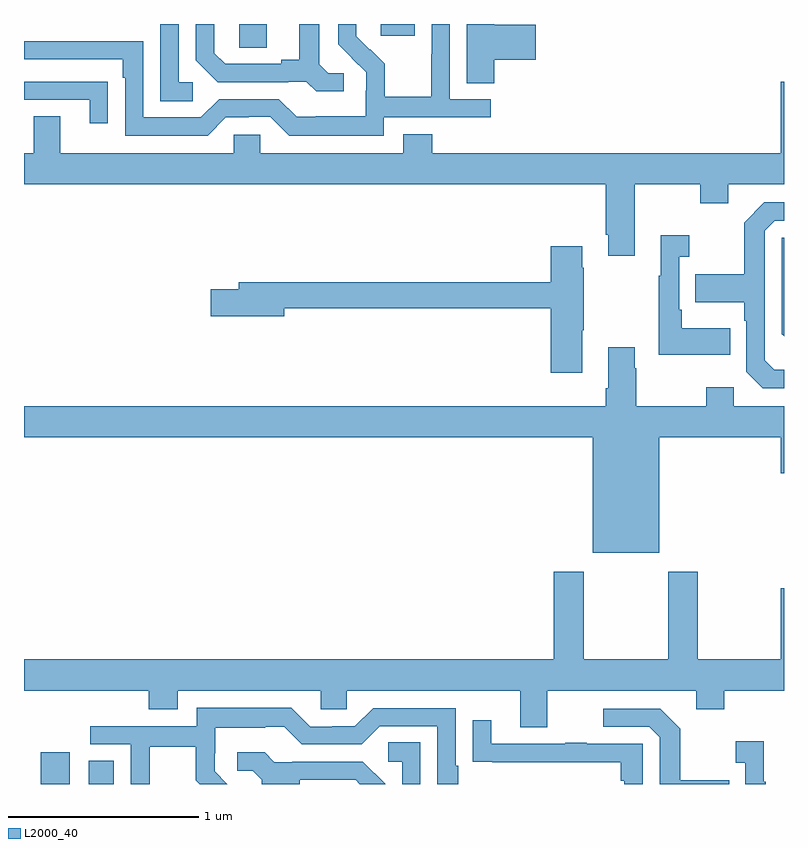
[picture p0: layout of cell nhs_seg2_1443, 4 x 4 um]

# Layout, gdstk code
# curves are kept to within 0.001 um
import gdstk
lib = gdstk.Library(unit=1e-6, precision=1e-09)
def R(c, l, rs):  # rectangles x0, y0, x1, y1
    for r in rs: c.add(gdstk.rectangle(r[:2], r[2:], *l))
def P(c, l, *ps):  # polygons
    for p in ps: c.add(gdstk.Polygon(p, *l))
L2000_40 = (2000, 40)

nhs_seg2_1443 = lib.new_cell('nhs_seg2_1443')
R(nhs_seg2_1443, L2000_40, [(185.087,657.8,185.242,657.967), (185.342,657.8,185.473,657.923), (186.132,661.675,186.277,661.8), (186.878,661.737,187.057,661.8)])
P(nhs_seg2_1443, L2000_40, [(186.682,661.542),(186.6,661.542),(186.553,661.589),(186.553,661.8),(186.449,661.8),(186.449,661.613),(186.353,661.613),(186.353,661.59),(186.058,661.59),(186.001,661.647),(186.001,661.8),(185.904,661.8),(185.904,661.61),(186.02,661.494),(186.392,661.494),(186.392,661.497),(186.486,661.497),(186.538,661.445),(186.682,661.445)],
  [(185.887,661.494),(185.814,661.494),(185.814,661.8),(185.718,661.8),(185.718,661.393),(185.887,661.393)],
  [(187.475,661.613),(187.693,661.613),(187.693,661.796),(187.475,661.796),(187.475,661.8),(187.331,661.8),(187.331,661.489),(187.475,661.489)],
  [(186.894,661.308),(187.456,661.308),(187.456,661.404),(187.242,661.404),(187.242,661.8),(187.146,661.8),(187.146,661.64),(187.144,661.64),(187.144,661.417),(186.899,661.417),(186.899,661.591),(186.822,661.668),(186.819,661.665),(186.749,661.736),(186.749,661.8),(186.654,661.8),(186.654,661.694),(186.8,661.546),(186.8,661.449),(186.798,661.449),(186.798,661.315),(186.535,661.315),(186.535,661.311),(186.435,661.311),(186.342,661.404),(186.027,661.404),(185.931,661.308),(185.628,661.308),(185.628,661.71),(185,661.71),(185,661.614),(185.519,661.614),(185.519,661.517),(185.532,661.517),(185.532,661.212),(185.967,661.212),(186.063,661.308),(186.182,661.308),(186.182,661.311),(186.297,661.311),(186.397,661.211),(186.894,661.211)],
  [(185.441,661.496),(185.339,661.496),(185.339,661.497),(185,661.497),(185,661.401),(185.345,661.401),(185.345,661.278),(185.441,661.278)],
  [(188.215,660.956),(188.56,660.956),(188.56,660.857),(188.707,660.857),(188.707,660.956),(189,660.956),(189,661.495),(188.984,661.495),(188.984,661.12),(187.148,661.12),(187.148,661.219),(186.995,661.219),(186.995,661.12),(186.243,661.12),(186.243,661.218),(186.105,661.218),(186.105,661.12),(185.191,661.12),(185.191,661.315),(185.051,661.315),(185.051,661.12),(185,661.12),(185,660.956),(188.063,660.956),(188.063,660.691),(188.075,660.691),(188.075,660.579),(188.215,660.579)],
  [(189,659.979),(188.949,659.979),(188.898,660.03),(188.898,660.711),(188.952,660.765),(189,660.765),(189,660.861),(188.895,660.861),(188.79,660.755),(188.79,660.483),(188.533,660.483),(188.533,660.335),(188.79,660.335),(188.79,660.239),(188.802,660.239),(188.802,659.97),(188.889,659.883),(189,659.883)],
  [(188.717,660.199),(188.461,660.199),(188.461,660.295),(188.448,660.295),(188.448,660.575),(188.5,660.575),(188.5,660.688),(188.351,660.688),(188.351,660.475),(188.34,660.475),(188.34,660.059),(188.717,660.059)],
  [(189,660.675),(188.988,660.675),(188.988,660.168),(189,660.156)],
  [(187.939,660.187),(187.947,660.187),(187.947,660.518),(187.939,660.518),(187.939,660.631),(187.772,660.631),(187.772,660.44),(186.131,660.44),(186.131,660.404),(185.982,660.404),(185.982,660.262),(186.37,660.262),(186.37,660.304),(187.772,660.304),(187.772,659.964),(187.939,659.964)],
  [(188.344,659.624),(188.984,659.624),(188.984,659.436),(189,659.436),(189,659.788),(188.736,659.788),(188.736,659.887),(188.59,659.887),(188.59,659.788),(188.223,659.788),(188.223,659.987),(188.215,659.987),(188.215,660.1),(188.075,660.1),(188.075,659.884),(188.063,659.884),(188.063,659.788),(185,659.788),(185,659.624),(187.994,659.624),(187.994,659.018),(188.344,659.018)],
  [(187.753,658.292),(188.537,658.292),(188.537,658.193),(188.685,658.193),(188.685,658.292),(189,658.292),(189,658.831),(188.984,658.831),(188.984,658.456),(188.547,658.456),(188.547,658.918),(188.392,658.918),(188.392,658.456),(187.947,658.456),(187.947,658.918),(187.787,658.918),(187.787,658.456),(185,658.456),(185,658.292),(185.657,658.292),(185.657,658.193),(185.809,658.193),(185.809,658.292),(186.561,658.292),(186.561,658.194),(186.699,658.194),(186.699,658.292),(187.613,658.292),(187.613,658.098),(187.753,658.098)],
  [(185.661,657.996),(185.905,657.996),(185.905,657.821),(185.926,657.8),(186.07,657.8),(186.004,657.866),(186.004,657.963),(186.006,657.963),(186.006,658.097),(186.269,658.097),(186.269,658.101),(186.369,658.101),(186.462,658.008),(186.777,658.008),(186.873,658.104),(187.176,658.104),(187.176,657.8),(187.285,657.8),(187.285,657.895),(187.272,657.895),(187.272,658.2),(186.837,658.2),(186.741,658.104),(186.623,658.104),(186.623,658.101),(186.507,658.101),(186.407,658.201),(185.91,658.201),(185.91,658.104),(185.349,658.104),(185.349,658.008),(185.562,658.008),(185.562,657.8),(185.661,657.8)],
  [(188.711,657.819),(188.455,657.819),(188.455,658.091),(188.349,658.197),(188.049,658.197),(188.049,658.101),(188.292,658.101),(188.346,658.047),(188.346,657.8),(188.711,657.8)],
  [(188.256,658.011),(187.961,658.011),(187.961,658.016),(187.849,658.016),(187.849,658.011),(187.459,658.011),(187.459,658.135),(187.363,658.135),(187.363,657.916),(187.465,657.916),(187.465,657.915),(188.14,657.915),(188.14,657.818),(188.16,657.818),(188.16,657.8),(188.256,657.8)],
  [(188.905,657.811),(188.893,657.811),(188.893,658.024),(188.745,658.024),(188.745,657.911),(188.796,657.911),(188.796,657.8),(188.905,657.8)],
  [(187.086,658.019),(186.918,658.019),(186.918,657.918),(186.99,657.918),(186.99,657.8),(187.086,657.8)],
  [(186.451,657.822),(186.746,657.822),(186.768,657.8),(186.9,657.8),(186.9,657.802),(186.784,657.918),(186.412,657.918),(186.412,657.915),(186.318,657.915),(186.266,657.967),(186.123,657.967),(186.123,657.87),(186.204,657.87),(186.251,657.823),(186.251,657.8),(186.451,657.8)])

lib.write_gds('nhs_seg2_1443.gds')
